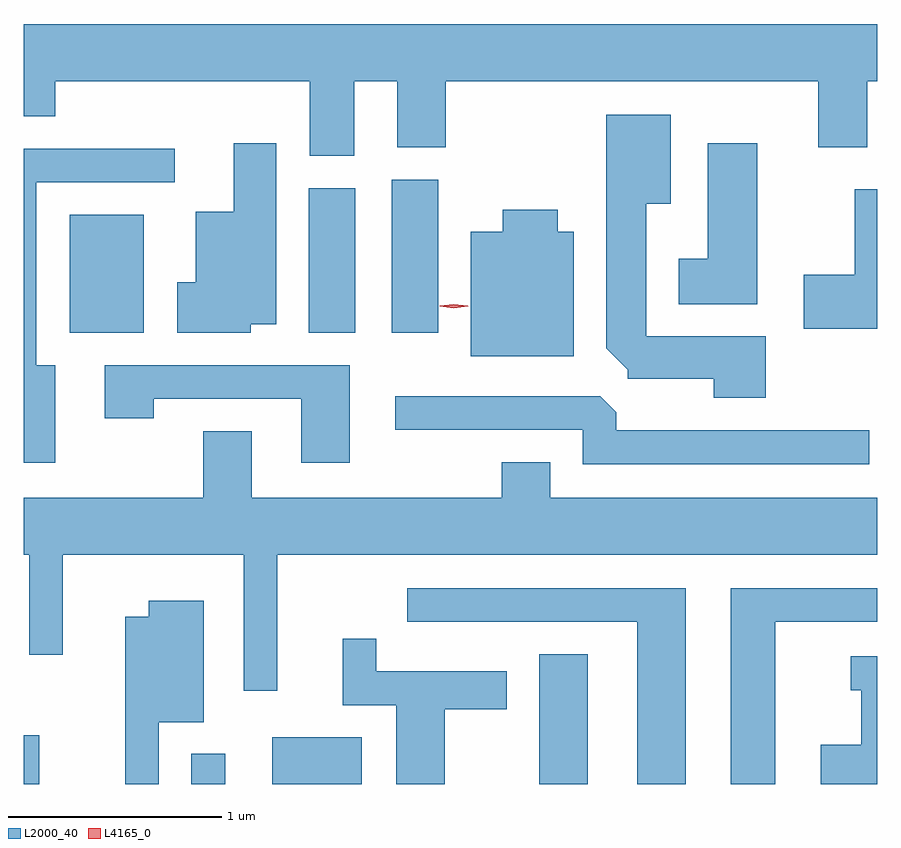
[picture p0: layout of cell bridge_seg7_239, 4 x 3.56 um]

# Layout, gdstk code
import gdstk
lib = gdstk.Library(unit=1e-6, precision=1e-09)
def R(c, l, rs):  # rectangles x0, y0, x1, y1
    for r in rs: c.add(gdstk.rectangle(r[:2], r[2:], *l))
def P(c, l, *ps):  # polygons
    for p in ps: c.add(gdstk.Polygon(p, *l))
L2000_40 = (2000, 40)
L4165_0 = (4165, 0)

bridge_seg7_239 = lib.new_cell('bridge_seg7_239')
R(bridge_seg7_239, L2000_40, [(1741.671,1693.261,1741.744,1693.489), (1742.456,1693.261,1742.614,1693.403), (1742.836,1693.261,1743.254,1693.479), (1744.086,1693.261,1744.314,1693.869), (1741.886,1695.376,1742.234,1695.929), (1743.006,1695.376,1743.224,1696.054), (1743.396,1695.376,1743.614,1696.094)])
P(bridge_seg7_239, L2000_40, [(1743.219,1696.556),(1743.421,1696.556),(1743.421,1696.246),(1743.649,1696.246),(1743.649,1696.556),(1745.396,1696.556),(1745.396,1696.246),(1745.624,1696.246),(1745.624,1696.556),(1745.671,1696.556),(1745.671,1696.824),(1741.671,1696.824),(1741.671,1696.391),(1741.819,1696.391),(1741.819,1696.556),(1743.011,1696.556),(1743.011,1696.206),(1743.219,1696.206)],
  [(1745.149,1695.359),(1744.589,1695.359),(1744.589,1695.981),(1744.704,1695.981),(1744.704,1696.399),(1744.401,1696.399),(1744.401,1695.304),(1744.501,1695.204),(1744.501,1695.161),(1744.906,1695.161),(1744.906,1695.071),(1745.149,1695.071)],
  [(1742.734,1695.416),(1742.854,1695.416),(1742.854,1696.264),(1742.656,1696.264),(1742.656,1695.944),(1742.476,1695.944),(1742.476,1695.614),(1742.391,1695.614),(1742.391,1695.376),(1742.734,1695.376)],
  [(1745.109,1696.264),(1744.876,1696.264),(1744.876,1695.724),(1744.741,1695.724),(1744.741,1695.511),(1745.109,1695.511)],
  [(1741.819,1695.224),(1741.729,1695.224),(1741.729,1696.081),(1742.378,1696.081),(1742.378,1696.239),(1741.671,1696.239),(1741.671,1694.766),(1741.819,1694.766)],
  [(1745.671,1696.049),(1745.566,1696.049),(1745.566,1695.649),(1745.326,1695.649),(1745.326,1695.396),(1745.671,1695.396)],
  [(1744.249,1695.849),(1744.174,1695.849),(1744.174,1695.954),(1743.916,1695.954),(1743.916,1695.849),(1743.766,1695.849),(1743.766,1695.266),(1744.249,1695.266)],
  [(1743.199,1695.224),(1742.051,1695.224),(1742.051,1694.976),(1742.279,1694.976),(1742.279,1695.066),(1742.971,1695.066),(1742.971,1694.766),(1743.199,1694.766)],
  [(1745.633,1694.919),(1744.449,1694.919),(1744.449,1695.004),(1744.374,1695.079),(1743.413,1695.079),(1743.413,1694.921),(1744.291,1694.921),(1744.291,1694.761),(1745.633,1694.761)],
  [(1742.701,1693.698),(1742.859,1693.698),(1742.859,1694.336),(1745.671,1694.336),(1745.671,1694.604),(1744.139,1694.604),(1744.139,1694.769),(1743.911,1694.769),(1743.911,1694.604),(1742.739,1694.604),(1742.739,1694.914),(1742.511,1694.914),(1742.511,1694.604),(1741.671,1694.604),(1741.671,1694.336),(1741.696,1694.336),(1741.696,1693.868),(1741.854,1693.868),(1741.854,1694.336),(1742.701,1694.336)],
  [(1745.194,1694.021),(1745.671,1694.021),(1745.671,1694.179),(1744.986,1694.179),(1744.986,1693.261),(1745.194,1693.261)],
  [(1744.774,1694.179),(1743.468,1694.179),(1743.468,1694.021),(1744.546,1694.021),(1744.546,1693.261),(1744.774,1693.261)],
  [(1742.304,1693.551),(1742.514,1693.551),(1742.514,1694.119),(1742.256,1694.119),(1742.256,1694.044),(1742.146,1694.044),(1742.146,1693.261),(1742.304,1693.261)],
  [(1743.644,1693.611),(1743.934,1693.611),(1743.934,1693.789),(1743.324,1693.789),(1743.324,1693.943),(1743.166,1693.943),(1743.166,1693.631),(1743.416,1693.631),(1743.416,1693.261),(1743.644,1693.261)],
  [(1745.671,1693.859),(1745.548,1693.859),(1745.548,1693.701),(1745.596,1693.701),(1745.596,1693.444),(1745.406,1693.444),(1745.406,1693.261),(1745.671,1693.261)])
P(bridge_seg7_239, L4165_0, [(1743.687,1695.491),(1743.621,1695.501),(1743.621,1695.501),(1743.621,1695.502),(1743.687,1695.511),(1743.753,1695.502),(1743.754,1695.501),(1743.753,1695.501)])

lib.write_gds('bridge_seg7_239.gds')
